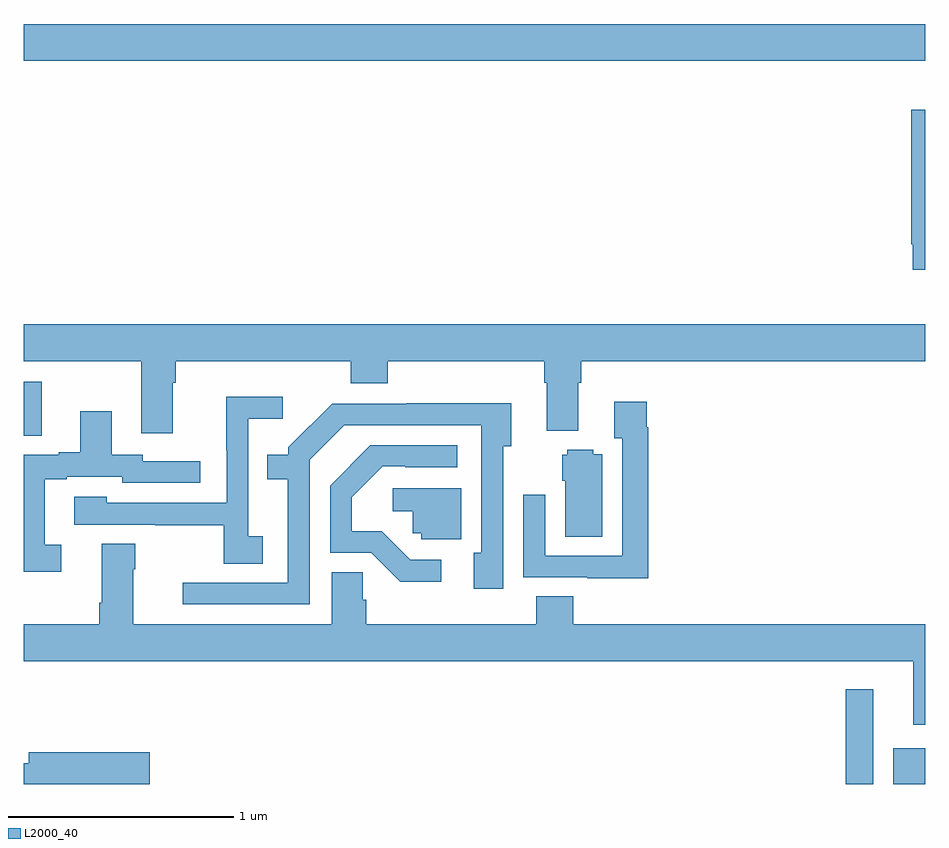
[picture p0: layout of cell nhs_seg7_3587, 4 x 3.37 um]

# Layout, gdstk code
import gdstk
lib = gdstk.Library(unit=1e-6, precision=1e-09)
def R(c, l, rs):  # rectangles x0, y0, x1, y1
    for r in rs: c.add(gdstk.rectangle(r[:2], r[2:], *l))
def P(c, l, *ps):  # polygons
    for p in ps: c.add(gdstk.Polygon(p, *l))
L2000_40 = (2000, 40)

nhs_seg7_3587 = lib.new_cell('nhs_seg7_3587')
R(nhs_seg7_3587, L2000_40, [(342.648,1072,342.769,1072.42), (342.857,1072,343,1072.159), (339,1073.545,339.079,1073.784), (339,1075.208,343,1075.372)])
P(nhs_seg7_3587, L2000_40, [(343,1074.992),(342.937,1074.992),(342.937,1074.394),(342.945,1074.394),(342.945,1074.282),(343,1074.282)],
  [(339.661,1073.78),(339.674,1073.78),(339.674,1073.876),(340.451,1073.876),(340.451,1073.777),(340.616,1073.777),(340.616,1073.876),(341.309,1073.876),(341.309,1073.78),(341.321,1073.78),(341.321,1073.567),(341.461,1073.567),(341.461,1073.78),(341.474,1073.78),(341.474,1073.876),(343,1073.876),(343,1074.04),(339,1074.04),(339,1073.876),(339.521,1073.876),(339.521,1073.556),(339.661,1073.556)],
  [(340.06,1073.1),(339.996,1073.1),(339.996,1073.621),(340.15,1073.621),(340.15,1073.719),(339.898,1073.719),(339.898,1073.48),(339.9,1073.48),(339.9,1073.247),(339.369,1073.247),(339.369,1073.275),(339.225,1073.275),(339.225,1073.151),(339.583,1073.151),(339.583,1073.149),(339.888,1073.149),(339.888,1072.978),(340.06,1072.978)],
  [(341.771,1073.582),(341.764,1073.582),(341.764,1073.695),(341.621,1073.695),(341.621,1073.534),(341.655,1073.534),(341.655,1073.013),(341.313,1073.013),(341.313,1073.284),(341.217,1073.284),(341.217,1072.917),(341.501,1072.917),(341.501,1072.913),(341.771,1072.913)],
  [(340.269,1073.439),(340.422,1073.592),(341.031,1073.592),(341.031,1073.026),(340.997,1073.026),(340.997,1072.866),(341.127,1072.866),(341.127,1073.498),(341.164,1073.498),(341.164,1073.69),(340.699,1073.69),(340.699,1073.688),(340.368,1073.688),(340.173,1073.493),(340.173,1073.461),(340.081,1073.461),(340.081,1073.352),(340.172,1073.352),(340.172,1072.893),(339.705,1072.893),(339.705,1072.797),(340.269,1072.797)],
  [(339.166,1073.061),(339.094,1073.061),(339.094,1073.352),(339.19,1073.352),(339.19,1073.364),(339.438,1073.364),(339.438,1073.337),(339.784,1073.337),(339.784,1073.433),(339.528,1073.433),(339.528,1073.46),(339.391,1073.46),(339.391,1073.653),(339.251,1073.653),(339.251,1073.473),(339.155,1073.473),(339.155,1073.46),(339,1073.46),(339,1072.941),(339.166,1072.941)],
  [(340.852,1072.995),(340.716,1072.995),(340.589,1073.122),(340.456,1073.122),(340.456,1073.272),(340.593,1073.409),(340.693,1073.409),(340.693,1073.406),(340.924,1073.406),(340.924,1073.502),(340.538,1073.502),(340.359,1073.323),(340.359,1073.025),(340.542,1073.025),(340.67,1072.898),(340.852,1072.898)],
  [(341.566,1073.464),(341.526,1073.464),(341.526,1073.482),(341.412,1073.482),(341.412,1073.46),(341.39,1073.46),(341.39,1073.346),(341.402,1073.346),(341.402,1073.098),(341.566,1073.098)],
  [(340.942,1073.313),(340.638,1073.313),(340.638,1073.21),(340.725,1073.21),(340.725,1073.112),(340.764,1073.112),(340.764,1073.085),(340.942,1073.085)],
  [(343,1072.708),(341.438,1072.708),(341.438,1072.832),(341.273,1072.832),(341.273,1072.708),(340.52,1072.708),(340.52,1072.818),(340.505,1072.818),(340.505,1072.94),(340.367,1072.94),(340.367,1072.708),(339.487,1072.708),(339.487,1072.952),(339.495,1072.952),(339.495,1073.065),(339.347,1073.065),(339.347,1072.804),(339.335,1072.804),(339.335,1072.708),(339,1072.708),(339,1072.544),(342.947,1072.544),(342.947,1072.263),(343,1072.263)],
  [(339.559,1072.14),(339.023,1072.14),(339.023,1072.093),(339,1072.093),(339,1072),(339.559,1072)])

lib.write_gds('nhs_seg7_3587.gds')
